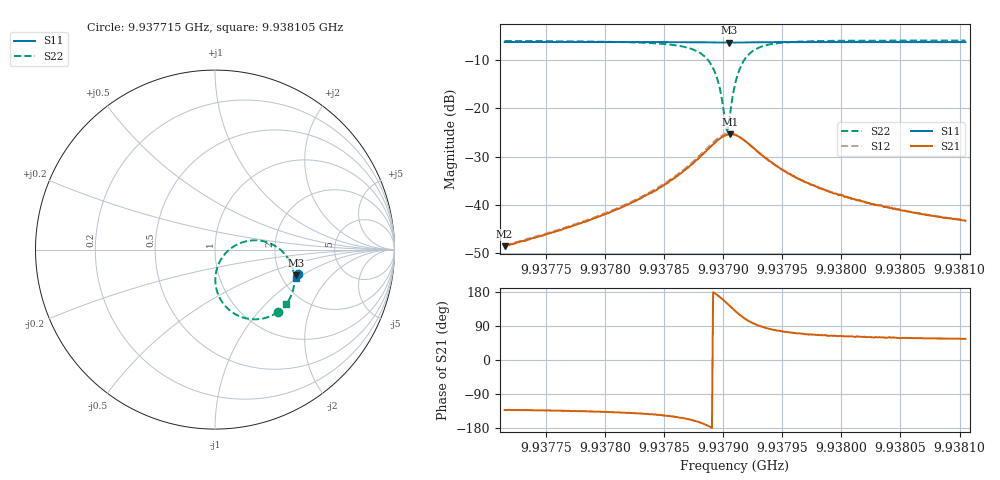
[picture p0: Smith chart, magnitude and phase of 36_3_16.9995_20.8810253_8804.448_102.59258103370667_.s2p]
#  HZ  S  RI  R  50.00
! Rohde & Schwarz Vector Network Analyzer
! Rohde-Schwarz,ZNB20-2Port,1311601062101988,3.16
! Created: UTC 3/20/2024, 10:53:42 PM
! freq[Hz]  re:S11  im:S11  re:S21  im:S21  re:S12  im:S12  re:S22  im:S22
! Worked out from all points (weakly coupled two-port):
!   401 points, 9.937715 GHz to 9.938105 GHz, reference 50 ohm
!   highest |S21| = -25.39 dB at 9.9379061 GHz (marker M1); lowest = -48.5 dB at 9.937715 GHz (marker M2)
!   lowest |S11| = -6.5 dB at 9.9379051 GHz (marker M3), VSWR 2.81, Z = 121 - j44.5 ohm
!   |S11| at or under -10 dB: nowhere
!   |S22| runs from -24.6 to -6.0 dB; largest |S21 - S12| = 0.0043
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9.937715e9  0.4628 -0.1333  -0.0025 -0.00279  -0.00256 -0.0028  0.3518 -0.346
9.93778032e9  0.4608 -0.1378  -0.00463 -0.00459  -0.0048 -0.00462  0.3286 -0.3609
9.93781736e9  0.4597 -0.1406  -0.00748 -0.00643  -0.00778 -0.00648  0.3011 -0.3737
9.93784564e9  0.4585 -0.1429  -0.0122 -0.00856  -0.0127 -0.00864  0.2577 -0.3856
9.93787098e9  0.4568 -0.1448  -0.0227 -0.00988  -0.0238 -0.00957  0.1675 -0.3816
9.93788561e9  0.4547 -0.1456  -0.0355 -0.00533  -0.0374 -0.00414  0.0646 -0.3225
9.93789146e9  0.4537 -0.1453  -0.0422 0.000883  -0.0441 0.00311  0.0205 -0.2575
9.93789536e9  0.453 -0.1449  -0.0459 0.00766  -0.0475 0.0105  0.00299 -0.1933
9.93789828e9  0.4525 -0.1444  -0.0474 0.014  -0.0483 0.0177  0.00415 -0.136
9.93790218e9  0.4523 -0.1434  -0.0465 0.024  -0.0464 0.028  0.0323 -0.0567
9.93790316e9  0.4525 -0.1431  -0.0459 0.0263  -0.0452 0.0305  0.0444 -0.0383
9.93790511e9  0.4525 -0.1426  -0.0436 0.0313  -0.0422 0.0352  0.0742 -0.00529
9.93790608e9  0.4526 -0.1425  -0.042 0.0335  -0.0403 0.0372  0.0914 0.00878
9.93790998e9  0.4534 -0.1416  -0.034 0.0405  -0.0315 0.0432  0.1695 0.0453
9.93791291e9  0.454 -0.1415  -0.0271 0.0432  -0.0242 0.0451  0.2285 0.0518
9.93791681e9  0.4548 -0.1414  -0.0182 0.0438  -0.0155 0.0447  0.2976 0.0383
9.93792753e9  0.4566 -0.1425  -0.0026 0.037  -0.00076 0.0367  0.4037 -0.0446
9.937948e9  0.4575 -0.1452  0.00548 0.0233  0.00617 0.023  0.4421 -0.1628
9.9379753e9  0.4569 -0.148  0.00622 0.0149  0.00649 0.0147  0.4331 -0.2307
9.93801137e9  0.4561 -0.1509  0.00553 0.01  0.00557 0.01  0.4182 -0.2689
9.93804062e9  0.4552 -0.1529  0.00464 0.0082  0.00496 0.00797  0.4092 -0.2852
9.93810497e9  0.4535 -0.1574  0.00382 0.00567  0.00402 0.00566  0.3954 -0.3048
